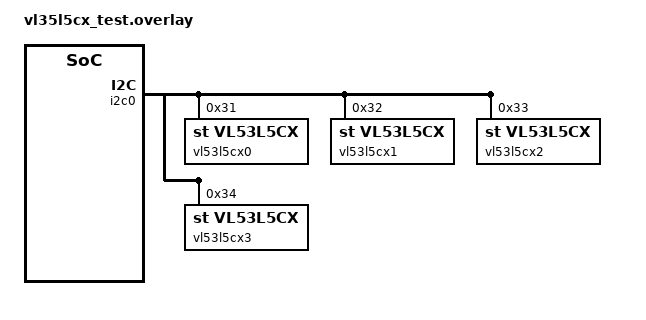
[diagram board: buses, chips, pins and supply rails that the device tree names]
/*
 * SPDX-License-Identifier: Apache-2.0
 *
 * Optional four-VL53L5CX ranging devices. Shared I2C wiring and bitrate come
 * from the ESP target contract.
 */

&i2c0 {
	/* Final unique addresses after reprogramming (see sample logic). */
	vl53l5cx0: vl53l5cx@31 {
		compatible = "st,vl53l5cx";
		reg = <0x31>;
		status = "okay";
	};

	vl53l5cx1: vl53l5cx@32 {
		compatible = "st,vl53l5cx";
		reg = <0x32>;
		status = "okay";
	};

	vl53l5cx2: vl53l5cx@33 {
		compatible = "st,vl53l5cx";
		reg = <0x33>;
		status = "okay";
	};

	vl53l5cx3: vl53l5cx@34 {
		compatible = "st,vl53l5cx";
		reg = <0x34>;
		status = "okay";
	};
};

/ {
	/* Define aliases for easier access in code */
	aliases {
		tof0 = &vl53l5cx0;
		tof1 = &vl53l5cx1;
		tof2 = &vl53l5cx2;
		tof3 = &vl53l5cx3;
	};
};
